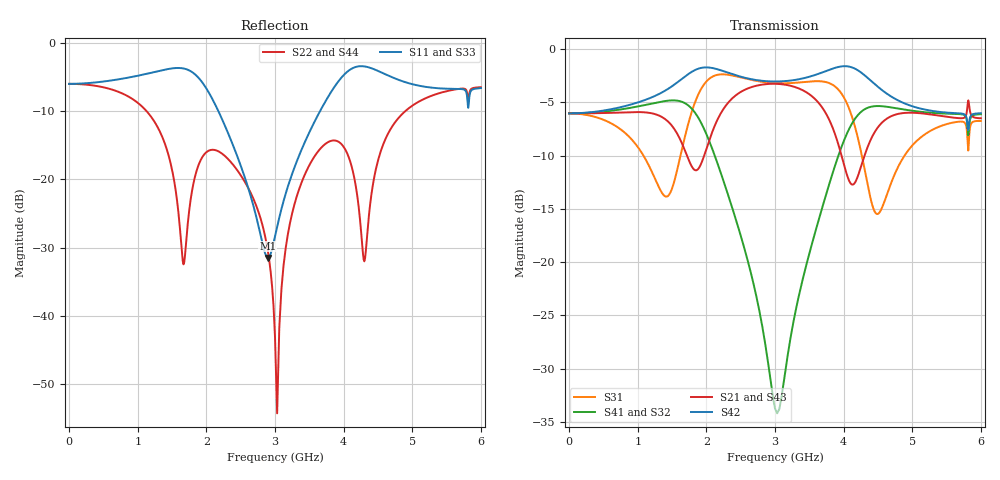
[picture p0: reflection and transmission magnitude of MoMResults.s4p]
! Created Tue Dec  5 16:04:49 2023
! List of port names and net name(s): example Port n = <port_name> <net_name1> <net_name2> ...
! Port 1 = P1 P1
! Port 2 = P2 P2
! Port 3 = P3 P3
! Port 4 = P4 P4
# hz S ma R 50
! 4 Port Network Data from data block
! freq  magS11  angS11  magS12  angS12  magS13  angS13  magS14  angS14
!  magS21  angS21  magS22  angS22  magS23  angS23  magS24  angS24
!  magS31  angS31  magS32  angS32  magS33  angS33  magS34  angS34
!  magS41  angS41  magS42  angS42  magS43  angS43  magS44  angS44
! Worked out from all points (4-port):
!   424 points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, 9.303 Hz to 6 GHz, reference 50 ohm
!   strongest paths, dB at 9.303 Hz, 1.319 GHz, 2.854 GHz, 4.594 GHz, 6 GHz:
!     S42: -6.0, -4.2, -3.0, -4.0, -6.0
!     S21: -6.0, -6.3, -3.3, -6.7, -6.5
!     S43: -6.0, -6.3, -3.3, -6.7, -6.5
!     S41: -6.0, -5.0, -27.5, -5.4, -6.1
!     S32: -6.0, -5.0, -27.5, -5.4, -6.1
!     S31: -6.0, -13.1, -3.1, -14.3, -6.7
!   lowest |S11| = -31.5 dB at 2.896 GHz (marker M1), VSWR 1.05, Z = 51.6 - j2.14 ohm
!   |S11| at or under -10 dB: 2.174 GHz to 3.657 GHz (1.483 GHz wide, 50.9 % of centre)
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9.303283  0.5 180.0  0.5 -0.0  0.5 -0.0  0.5 -0.0
          0.5 -0.0  0.5 180.0  0.5 -0.0  0.5 -0.0
          0.5 -0.0  0.5 -0.0  0.5 180.0  0.5 -0.0
          0.5 -0.0  0.5 -0.0  0.5 -0.0  0.5 180.0
1.666667e9  0.6482 69.3  0.3475 -89.5  0.3642 -20.9  0.5625 179.6
            0.3475 -89.5  0.02384 -60.3  0.5625 179.6  0.7356 -160.1
            0.3642 -20.9  0.5625 179.6  0.6482 69.3  0.3475 -89.5
            0.5625 179.6  0.7356 -160.1  0.3475 -89.5  0.02387 -60.3
1.864583e9  0.5684 35.8  0.2712 -75.1  0.5954 -37.6  0.4872 145.4
            0.2712 -75.1  0.1185 -175.4  0.4871 145.4  0.8063 173.6
            0.5954 -37.6  0.4871 145.4  0.5684 35.8  0.2712 -75.1
            0.4872 145.4  0.8063 173.6  0.2712 -75.1  0.1185 -175.4
2.895833e9  0.02651 -51.3  0.6868 -131.5  0.6973 -133.0  0.03429 5.8
            0.6868 -131.5  0.02988 77.9  0.03426 5.8  0.707 49.4
            0.6973 -133.0  0.03426 5.8  0.02655 -51.5  0.6868 -131.5
            0.03429 5.8  0.707 49.4  0.6868 -131.5  0.02992 77.7
4.0625e9  0.6188 -127.0  0.2493 147.5  0.5433 123.3  0.4112 121.3
          0.2493 147.5  0.1505 133.6  0.4112 121.3  0.8306 -86.8
          0.5433 123.3  0.4112 121.3  0.6188 -127.0  0.2494 147.5
          0.4112 121.3  0.8306 -86.8  0.2494 147.5  0.1504 133.5
4.302083e9  0.6711 -164.5  0.3147 174.0  0.2769 104.3  0.5216 78.5
            0.3147 174.0  0.0251 171.0  0.5216 78.5  0.7562 -120.9
            0.2769 104.3  0.5216 78.5  0.6711 -164.5  0.3147 174.0
            0.5216 78.5  0.7562 -120.9  0.3147 174.0  0.02509 170.9
6e9  0.4657 76.3  0.4742 67.8  0.4603 76.0  0.4955 -113.5
     0.4742 67.8  0.4725 65.5  0.4954 -113.5  0.5008 67.9
     0.4603 76.0  0.4954 -113.5  0.4657 76.3  0.4742 67.7
     0.4955 -113.5  0.5008 67.9  0.4742 67.7  0.4725 65.4
